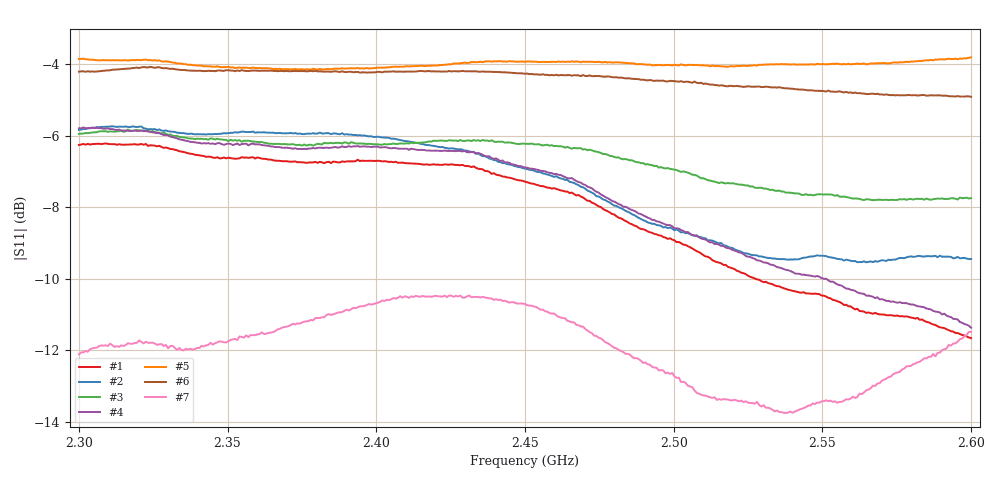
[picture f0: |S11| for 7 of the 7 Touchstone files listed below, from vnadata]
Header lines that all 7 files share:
! NanoVNA-App
! Start: 2.3GHz Stop: 2.6GHz Points: 401
! S-Parameter data: F S11
# Hz S RI R 50
!  Frequency  S11_Real  S11_Imag
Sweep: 2.3 GHz to 2.6 GHz
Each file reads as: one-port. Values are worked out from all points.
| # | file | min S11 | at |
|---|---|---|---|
| 1 | ST-02-2.4ghz.s1p | -11.7 dB | 2.6 GHz |
| 2 | ST-03-2.4ghz.s1p | -9.5 dB | 2.565 GHz |
| 3 | SW-04-2.4ghz.s1p | -7.8 dB | 2.567 GHz |
| 4 | SW-05-2.4ghz.s1p | -11.4 dB | 2.6 GHz |
| 5 | TAO05-01-2.4ghz-90degree.s1p | -4.2 dB | 2.38 GHz |
| 6 | TAO05-02-2.4ghz.s1p | -4.9 dB | 2.6 GHz |
| 7 | TS-02-2.4ghz.s1p | -13.8 dB | 2.538 GHz |
